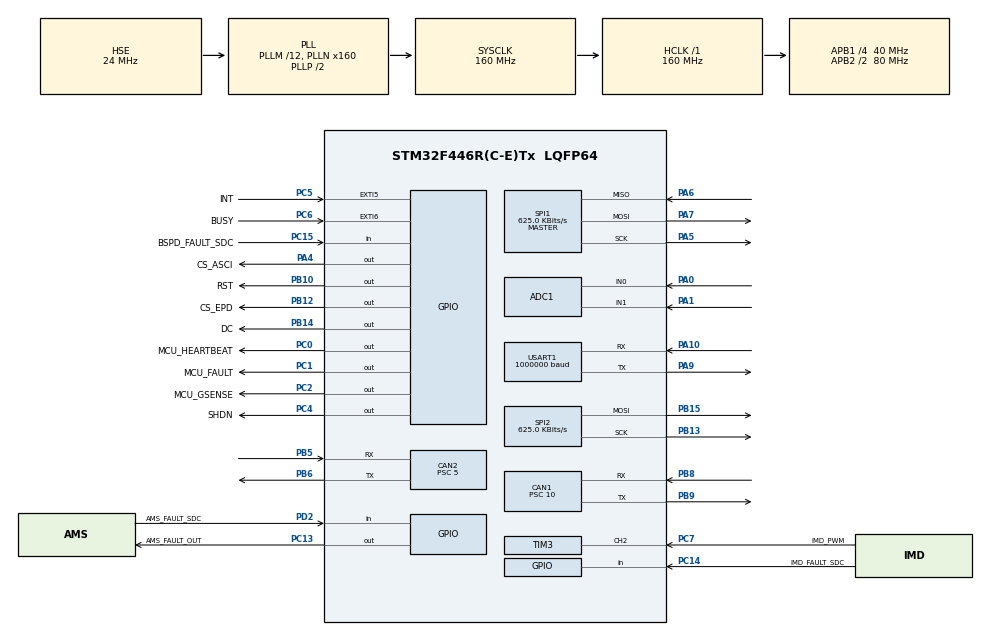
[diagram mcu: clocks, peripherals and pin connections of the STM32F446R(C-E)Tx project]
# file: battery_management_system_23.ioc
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ADC1.Channel-0\#ChannelRegularConversion=ADC_CHANNEL_0
ADC1.Channel-1\#ChannelRegularConversion=ADC_CHANNEL_1
ADC1.ContinuousConvMode=ENABLE
ADC1.DMAContinuousRequests=ENABLE
ADC1.NbrOfConversion=2
ADC1.NbrOfConversionFlag=1
ADC1.Rank-0\#ChannelRegularConversion=1
ADC1.Rank-1\#ChannelRegularConversion=2
ADC1.SamplingTime-0\#ChannelRegularConversion=ADC_SAMPLETIME_15CYCLES
ADC1.SamplingTime-1\#ChannelRegularConversion=ADC_SAMPLETIME_15CYCLES
ADC1.ScanConvMode=ENABLE
ADC1.master=1
CAN1.ABOM=ENABLE
CAN1.AWUM=ENABLE
CAN1.BS1=CAN_BS1_6TQ
CAN1.BS2=CAN_BS2_1TQ
CAN1.CalculateBaudRate=500000
CAN1.CalculateTimeBit=2000
CAN1.CalculateTimeQuantum=250.0
CAN1.Mode=CAN_MODE_NORMAL
CAN1.Prescaler=10
CAN2.ABOM=ENABLE
CAN2.AWUM=ENABLE
CAN2.BS1=CAN_BS1_6TQ
CAN2.CalculateBaudRate=1000000
CAN2.CalculateTimeBit=1000
CAN2.CalculateTimeQuantum=125.0
CAN2.Mode=CAN_MODE_NORMAL
CAN2.Prescaler=5
Dma.ADC1.0.Direction=DMA_PERIPH_TO_MEMORY
Dma.ADC1.0.FIFOMode=DMA_FIFOMODE_DISABLE
Dma.ADC1.0.Instance=DMA2_Stream0
Dma.ADC1.0.MemDataAlignment=DMA_MDATAALIGN_HALFWORD
Dma.ADC1.0.MemInc=DMA_MINC_ENABLE
Dma.ADC1.0.Mode=DMA_CIRCULAR
Dma.ADC1.0.PeriphDataAlignment=DMA_PDATAALIGN_HALFWORD
Dma.ADC1.0.PeriphInc=DMA_PINC_DISABLE
Dma.ADC1.0.Priority=DMA_PRIORITY_LOW
Dma.Request0=ADC1
FREERTOS.Queues01=epaperQueue,1,Epaper_Data_S,0,Dynamic,NULL,NULL
FREERTOS.Tasks01=defaultTask,0,512,StartDefaultTask,Default,NULL,Static,defaultTaskBuffer,defaultTaskControlBlock;mainTask,2,1024,StartMainTask,Default,NULL,Static,mainTaskBuffer,mainTaskControlBlock;ePaper,-2,1024,StartEPaper,Default,NULL,Static,ePaperBuffer,ePaperControlBlock;idle,-2,256,StartIdle,Default,NULL,Static,idleBuffer,idleControlBlock;serviceGopherCa,2,1024,runServiceGopherCan,Default,NULL,Dynamic,NULL,NULL
FREERTOS.configCHECK_FOR_STACK_OVERFLOW=1
FREERTOS.configENABLE_FPU=1
FREERTOS.configGENERATE_RUN_TIME_STATS=1
FREERTOS.configMINIMAL_STACK_SIZE=256
FREERTOS.configUSE_NEWLIB_REENTRANT=1
Mcu.Family=STM32F4
Mcu.Name=STM32F446R(C-E)Tx
Mcu.Package=LQFP64
NVIC.CAN1_RX0_IRQn=true\:5\:0\:false\:false\:true\:true\:true\:true\:true
NVIC.CAN2_RX0_IRQn=true\:5\:0\:false\:false\:true\:true\:true\:true\:true
NVIC.CAN2_RX1_IRQn=true\:5\:0\:false\:false\:true\:true\:true\:true\:true
NVIC.CAN2_TX_IRQn=true\:5\:0\:false\:false\:true\:true\:true\:true\:true
NVIC.DMA2_Stream0_IRQn=true\:5\:0\:false\:false\:true\:true\:false\:true\:true
NVIC.EXTI9_5_IRQn=true\:5\:0\:true\:false\:true\:true\:true\:true\:true
NVIC.PriorityGroup=NVIC_PRIORITYGROUP_4
NVIC.SPI1_IRQn=true\:5\:0\:true\:false\:true\:true\:true\:true\:true
NVIC.SPI2_IRQn=true\:6\:0\:true\:false\:true\:true\:true\:true\:true
NVIC.TIM1_UP_TIM10_IRQn=true\:5\:0\:true\:false\:true\:true\:true\:true\:true
NVIC.TIM3_IRQn=true\:5\:0\:true\:false\:true\:true\:true\:true\:true
NVIC.TIM6_DAC_IRQn=true\:15\:0\:false\:false\:true\:false\:false\:true\:true
NVIC.TimeBase=TIM6_DAC_IRQn
NVIC.TimeBaseIP=TIM6
PA0-WKUP.Signal=ADCx_IN0
PA1.Signal=ADCx_IN1
PA10.Mode=Asynchronous
PA10.Signal=USART1_RX
PA13.GPIO_Label=TMS
PA13.Mode=Serial_Wire
PA13.Signal=SYS_JTMS-SWDIO
PA14.GPIO_Label=TCK
PA14.Mode=Serial_Wire
PA14.Signal=SYS_JTCK-SWCLK
PA4.GPIO_Label=CS_ASCI
PA4.Signal=GPIO_Output
PA5.Mode=Full_Duplex_Master
PA5.Signal=SPI1_SCK
PA6.Mode=Full_Duplex_Master
PA6.Signal=SPI1_MISO
PA7.Mode=Full_Duplex_Master
PA7.Signal=SPI1_MOSI
PA9.Mode=Asynchronous
PA9.Signal=USART1_TX
PB10.GPIO_Label=RST
PB10.Signal=GPIO_Output
PB12.GPIO_Label=CS_EPD
PB12.Signal=GPIO_Output
PB13.Mode=TX_Only_Simplex_Unidirect_Master
PB13.Signal=SPI2_SCK
PB14.GPIO_Label=DC
PB14.Signal=GPIO_Output
PB15.Mode=TX_Only_Simplex_Unidirect_Master
PB15.Signal=SPI2_MOSI
PB3.Signal=SYS_JTDO-SWO
PB5.Mode=CAN_Activate
PB5.Signal=CAN2_RX
PB6.Mode=CAN_Activate
PB6.Signal=CAN2_TX
PB8.GPIO_PuPd=GPIO_NOPULL
PB8.Mode=CAN_Activate
PB8.Signal=CAN1_RX
PB9.Mode=CAN_Activate
PB9.Signal=CAN1_TX
PC0.GPIO_Label=MCU_HEARTBEAT
PC0.Signal=GPIO_Output
PC1.GPIO_Label=MCU_FAULT
PC1.Signal=GPIO_Output
PC13.GPIO_Label=AMS_FAULT_OUT
PC13.Signal=GPIO_Output
PC14-OSC32_IN.GPIO_Label=IMD_FAULT_SDC
PC14-OSC32_IN.Signal=GPIO_Input
PC15-OSC32_OUT.GPIO_Label=BSPD_FAULT_SDC
PC15-OSC32_OUT.Signal=GPIO_Input
PC2.GPIO_Label=MCU_GSENSE
PC2.Signal=GPIO_Output
PC4.GPIO_Label=SHDN
PC4.Signal=GPIO_Output
PC5.GPIO_Label=INT
PC5.GPIO_ModeDefaultEXTI=GPIO_MODE_IT_FALLING
PC5.Signal=GPXTI5
PC6.GPIO_Label=BUSY
PC6.GPIO_ModeDefaultEXTI=GPIO_MODE_IT_FALLING
PC6.Signal=GPXTI6
PC7.GPIO_Label=IMD_PWM
PC7.Signal=S_TIM3_CH2
PD2.GPIO_Label=AMS_FAULT_SDC
PD2.Signal=GPIO_Input
PH0-OSC_IN.Mode=HSE-External-Oscillator
PH0-OSC_IN.Signal=RCC_OSC_IN
PH1-OSC_OUT.Mode=HSE-External-Oscillator
PH1-OSC_OUT.Signal=RCC_OSC_OUT
ProjectManager.HeapSize=0x200
ProjectManager.StackSize=0x400
ProjectManager.TargetToolchain=STM32CubeIDE
RCC.48MHZClocksFreq_Value=84000000
RCC.AHBFreq_Value=160000000
RCC.APB1CLKDivider=RCC_HCLK_DIV4
RCC.APB1Freq_Value=40000000
RCC.APB1TimFreq_Value=80000000
RCC.APB2CLKDivider=RCC_HCLK_DIV2
RCC.APB2Freq_Value=80000000
RCC.APB2TimFreq_Value=160000000
RCC.CortexFreq_Value=160000000
RCC.FLatency-AdvancedSettings=FLASH_LATENCY_5
RCC.HCLKFreq_Value=160000000
RCC.HSE_VALUE=24000000
RCC.HSI_VALUE=16000000
RCC.PLLM=12
RCC.PLLN=160
RCC.PLLSourceVirtual=RCC_PLLSOURCE_HSE
RCC.SYSCLKFreq_VALUE=160000000
RCC.SYSCLKSource=RCC_SYSCLKSOURCE_PLLCLK
RCC.USBFreq_Value=160000000
RCC.VCOOutputFreq_Value=320000000
SH.ADCx_IN0.0=ADC1_IN0,IN0
SH.ADCx_IN1.0=ADC1_IN1,IN1
SH.S_TIM3_CH2.0=TIM3_CH2,PWM_Input_2
SPI1.BaudRatePrescaler=SPI_BAUDRATEPRESCALER_128
SPI1.CalculateBaudRate=625.0 KBits/s
SPI1.Direction=SPI_DIRECTION_2LINES
SPI1.Mode=SPI_MODE_MASTER
SPI1.VirtualType=VM_MASTER
SPI2.BaudRatePrescaler=SPI_BAUDRATEPRESCALER_64
SPI2.CalculateBaudRate=625.0 KBits/s
SPI2.Direction=SPI_DIRECTION_2LINES
SPI2.Mode=SPI_MODE_MASTER
SPI2.VirtualType=VM_MASTER
TIM3.ICPolarity_1=TIM_INPUTCHANNELPOLARITY_FALLING
TIM3.Period=65535
TIM3.Prescaler=214-1
USART1.BaudRate=1000000
USART1.VirtualMode=VM_ASYNC
VP_FREERTOS_VS_CMSIS_V1.Mode=CMSIS_V1
VP_SYS_VS_tim6.Mode=TIM6
VP_TIM10_VS_ClockSourceINT.Mode=Enable_Timer
VP_TIM3_VS_ClockSourceINT.Mode=Internal
board=NUCLEO-F446RE

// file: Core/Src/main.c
/* USER CODE BEGIN Header */
/**
  ******************************************************************************
  * @file           : main.c
  * @brief          : Main program body
  ******************************************************************************
  * @attention
  *
  * Copyright (c) 2022 STMicroelectronics.
  * All rights reserved.
  *
  * This software is licensed under terms that can be found in the LICENSE file
  * in the root directory of this software component.
  * If no LICENSE file comes with this software, it is provided AS-IS.
  *
  ******************************************************************************
  */
/* USER CODE END Header */
#include "main.h"
#include "cmsis_os.h"

/* USER CODE BEGIN Includes */
#include "stm32f4xx_it.h"
#include "mainTask.h"
#include "epaperTask.h"
#include "idleTask.h"
#include "bms.h"
#include "gopher_sense.h"
#include "utils.h"
#include "charger.h"

/* USER CODE END Includes */

ADC_HandleTypeDef hadc1;
DMA_HandleTypeDef hdma_adc1;

CAN_HandleTypeDef hcan1;
CAN_HandleTypeDef hcan2;

SPI_HandleTypeDef hspi1;
SPI_HandleTypeDef hspi2;

TIM_HandleTypeDef htim3;
TIM_HandleTypeDef htim10;

UART_HandleTypeDef huart1;

osThreadId defaultTaskHandle;
uint32_t defaultTaskBuffer[ 512 ];
osStaticThreadDef_t defaultTaskControlBlock;
osThreadId mainTaskHandle;
uint32_t mainTaskBuffer[ 1024 ];
osStaticThreadDef_t mainTaskControlBlock;
osThreadId ePaperHandle;
uint32_t ePaperBuffer[ 1024 ];
osStaticThreadDef_t ePaperControlBlock;
osThreadId idleHandle;
uint32_t idleBuffer[ 256 ];
osStaticThreadDef_t idleControlBlock;
osThreadId serviceGopherCaHandle;
osMessageQId epaperQueueHandle;
/* USER CODE BEGIN PV */
volatile uint32_t imdFrequency;
volatile uint32_t imdDutyCycle;
volatile uint32_t imdLastUpdate;

volatile bool newChargerMessage = false;
volatile uint8_t chargerMessage[5];

/* USER CODE END PV */

void SystemClock_Config(void);
static void MX_GPIO_Init(void);
static void MX_DMA_Init(void);
static void MX_SPI1_Init(void);
static void MX_SPI2_Init(void);
static void MX_USART1_UART_Init(void);
static void MX_TIM3_Init(void);
static void MX_CAN1_Init(void);
static void MX_CAN2_Init(void);
static void MX_ADC1_Init(void);
static void MX_TIM10_Init(void);
void StartDefaultTask(void const * argument);
void StartMainTask(void const * argument);
void StartEPaper(void const * argument);
void StartIdle(void const * argument);
void runServiceGopherCan(void const * argument);

/* USER CODE BEGIN PFP */
#ifdef __GNUC__
#define PUTCHAR_PROTOTYPE int __io_putchar(int ch)
#define GETCHAR_PROTOTYPE int __io_getchar(void)
#else
#define PUTCHAR_PROTOTYPE int fputc(int ch, FILE *f)
#define GETCHAR_PROTOTYPE int fgetc(FILE *f)
#endif

PUTCHAR_PROTOTYPE
{
  HAL_UART_Transmit(&huart1, (uint8_t *)&ch, 1, HAL_MAX_DELAY);
  return ch;
}

GETCHAR_PROTOTYPE
{
  uint8_t ch = 0;

  /* Clear the Overrun flag just before receiving the first character */
  __HAL_UART_CLEAR_OREFLAG(&huart1);

  /* Wait for reception of a character on the USART RX line and echo this
   * character on console */
  HAL_UART_Receive(&huart1, (uint8_t *)&ch, 1, HAL_MAX_DELAY);
  HAL_UART_Transmit(&huart1, (uint8_t *)&ch, 1, HAL_MAX_DELAY);
  return ch;
}
/* USER CODE END PFP */

/* USER CODE BEGIN 0 */

/*!
  @brief   This function is called by FreeRTOS when a stack overflow is detected.
           This function prints an error message indicating the task that caused the stack overflow
           and then calls the hardfault handler, which flashes an LED to indicate an error and resets the MCU.
  @param   xTask The handle of the task that caused the stack overflow.
  @param   pcTaskName A pointer to a string containing the name of the task that caused the stack overflow.
*/
void vApplicationStackOverflowHook( TaskHandle_t xTask, signed char *pcTaskName )
{
  // Print out error message indicating offending task
  Debug("Error: Stack overflow detected in task: %s\n", pcTaskName);
  // Call hardfault handler which indicates error by flashing led and then resets MCU
  HardFault_Handler();
}

/*!
  @brief   Interrupt when SPI TX finishes. Unblock task by releasing
  	  	   semaphore
  @param   SPI Handle
*/
void HAL_SPI_TxCpltCallback(SPI_HandleTypeDef *hspi)
{
	if (hspi == &hspi1)
	{
		static BaseType_t xHigherPriorityTaskWoken = pdFALSE;
    xTaskNotifyFromISR(mainTaskHandle, INTERRUPT_SUCCESS, eSetBits, &xHigherPriorityTaskWoken);
		portYIELD_FROM_ISR(xHigherPriorityTaskWoken);
	}
	if (hspi == &hspi2)
	{
		static BaseType_t xHigherPriorityTaskWoken = pdFALSE;
		xTaskNotifyFromISR(ePaperHandle, INTERRUPT_SUCCESS, eSetBits, &xHigherPriorityTaskWoken);
		portYIELD_FROM_ISR(xHigherPriorityTaskWoken);
	}
}

/*!
  @brief   Interrupt when SPI TX/RX finishes. Unblock task by releasing
  	  	   semaphore
  @param   SPI Handle
*/
void HAL_SPI_TxRxCpltCallback(SPI_HandleTypeDef *hspi)
{
	if (hspi == &hspi1)
	{
		static BaseType_t xHigherPriorityTaskWoken = pdFALSE;
		xTaskNotifyFromISR(mainTaskHandle, INTERRUPT_SUCCESS, eSetBits, &xHigherPriorityTaskWoken);
		portYIELD_FROM_ISR(xHigherPriorityTaskWoken);
	}
}

void HAL_SPI_ErrorCallback(SPI_HandleTypeDef *hspi)
{
  if (hspi == &hspi1)
	{
		static BaseType_t xHigherPriorityTaskWoken = pdFALSE;
    xTaskNotifyFromISR(mainTaskHandle, INTERRUPT_ERROR, eSetBits, &xHigherPriorityTaskWoken);
		portYIELD_FROM_ISR(xHigherPriorityTaskWoken);
	}
	if (hspi == &hspi2)
	{
		static BaseType_t xHigherPriorityTaskWoken = pdFALSE;
		xTaskNotifyFromISR(ePaperHandle, INTERRUPT_ERROR, eSetBits, &xHigherPriorityTaskWoken);
		portYIELD_FROM_ISR(xHigherPriorityTaskWoken);
	}
}

void HAL_GPIO_EXTI_Callback(uint16_t GPIO_Pin)
{
	if (GPIO_Pin == INT_Pin)
	{
		static BaseType_t xHigherPriorityTaskWoken = pdFALSE;
    xTaskNotifyFromISR(mainTaskHandle, INTERRUPT_SUCCESS, eSetBits, &xHigherPriorityTaskWoken);
		portYIELD_FROM_ISR(xHigherPriorityTaskWoken);
	}
	if (GPIO_Pin == BUSY_Pin)
	{
		static BaseType_t xHigherPriorityTaskWoken = pdFALSE;
    xTaskNotifyFromISR(ePaperHandle, INTERRUPT_SUCCESS, eSetBits, &xHigherPriorityTaskWoken);
		portYIELD_FROM_ISR(xHigherPriorityTaskWoken);
	}
}

/*!
  @brief   Interrupt when Timer input capture triggered
  @param   TIM Handle
*/
void HAL_TIM_IC_CaptureCallback(TIM_HandleTypeDef *htim)
{
	if ((htim == &htim3) && (htim->Channel == HAL_TIM_ACTIVE_CHANNEL_2))  // If the interrupt is triggered by channel 2 (Rising edge detection)
	{
    // Record imd update time
    imdLastUpdate = HAL_GetTick();

		// Read the raw IC value of the timer with rising edge detection
		uint32_t inputCaptureRaw = HAL_TIM_ReadCapturedValue(htim, TIM_CHANNEL_2);
    // Prevent divide by 0
		if (inputCaptureRaw != 0)
		{
			// Calculate the Duty Cycle
      // The captured value in channel one contains the timestamp of the falling edge. Since the timer is reset
      // on a rising edge this contains the pulse width of the high time. This value is then divided by
      // inputCaptureRaw - which is the period of the PWM cycle in timer ticks to get duty cycle
			imdDutyCycle = (HAL_TIM_ReadCapturedValue(htim, TIM_CHANNEL_1) * 100) / inputCaptureRaw;

      // Calculate the Frequency
      // The timer CLK runs at 2x frequency of PCLK1. This is then divided by the prescalar.
      uint32_t timerFrequency = (HAL_RCC_GetPCLK1Freq() * 2) / htim3.Init.Prescaler;
      // Frequency scaling
			imdFrequency =  timerFrequency / inputCaptureRaw;
		}
	}
}

void GCAN_RxMsgPendingCallback(CAN_HandleTypeDef *hcan, U32 fifo_num)
{
  // Charger CAN
  if(hcan == &hcan1)
  {
    CAN_RxHeaderTypeDef rxHeader;
    uint8_t rxData[8];

    HAL_CAN_GetRxMessage(hcan, fifo_num, &rxHeader, rxData);
    if ((rxHeader.ExtId == CHARGER_CAN_ID_RX) && (rxHeader.DLC == 8))
    {
      for (int32_t i = 0; i < 5; i++)
      {
        chargerMessage[i] = rxData[i];
      }
      newChargerMessage = true;
    }
  }

  // Gopher CAN
  if(hcan == &hcan2)
  {
    service_can_rx_hardware(hcan, fifo_num);
  }
}

/* USER CODE END 0 */

int main(void)
{

  /* MCU Configuration--------------------------------------------------------*/

  /* Reset of all peripherals, Initializes the Flash interface and the Systick. */
  HAL_Init();

  /* Configure the system clock */
  SystemClock_Config();

  /* Initialize all configured peripherals */
  MX_GPIO_Init();
  MX_DMA_Init();
  MX_SPI1_Init();
  MX_SPI2_Init();
  MX_USART1_UART_Init();
  MX_TIM3_Init();
  MX_CAN1_Init();
  MX_CAN2_Init();
  MX_ADC1_Init();
  MX_TIM10_Init();
  /* USER CODE BEGIN 2 */
  initBmsGopherCan(&hcan2);
  gsense_init(&hcan2, &hadc1, 0, 0, MCU_GSENSE_GPIO_Port, MCU_GSENSE_Pin);

  // Start IMD timer capture
  HAL_TIM_IC_Start_IT(&htim3, TIM_CHANNEL_2);   // Main channel
  HAL_TIM_IC_Start(&htim3, TIM_CHANNEL_1);      // Indirect channel

  // Activate Charger CAN RX MSG PENDING notification
  HAL_CAN_Start(&hcan1);
  HAL_CAN_ActivateNotification(&hcan1, CAN_IT_RX_FIFO0_MSG_PENDING);

  /* USER CODE END 2 */

  /* Create the queue(s) */
  /* definition and creation of epaperQueue */
  osMessageQDef(epaperQueue, 1, Epaper_Data_S);
  epaperQueueHandle = osMessageCreate(osMessageQ(epaperQueue), NULL);

  /* Create the thread(s) */
  /* definition and creation of defaultTask */
  osThreadStaticDef(defaultTask, StartDefaultTask, osPriorityNormal, 0, 512, defaultTaskBuffer, &defaultTaskControlBlock);
  defaultTaskHandle = osThreadCreate(osThread(defaultTask), NULL);

  /* definition and creation of mainTask */
  osThreadStaticDef(mainTask, StartMainTask, osPriorityHigh, 0, 1024, mainTaskBuffer, &mainTaskControlBlock);
  mainTaskHandle = osThreadCreate(osThread(mainTask), NULL);

  /* definition and creation of ePaper */
  osThreadStaticDef(ePaper, StartEPaper, osPriorityLow, 0, 1024, ePaperBuffer, &ePaperControlBlock);
  ePaperHandle = osThreadCreate(osThread(ePaper), NULL);

  /* definition and creation of idle */
  osThreadStaticDef(idle, StartIdle, osPriorityLow, 0, 256, idleBuffer, &idleControlBlock);
  idleHandle = osThreadCreate(osThread(idle), NULL);

  /* definition and creation of serviceGopherCa */
  osThreadDef(serviceGopherCa, runServiceGopherCan, osPriorityHigh, 0, 1024);
  serviceGopherCaHandle = osThreadCreate(osThread(serviceGopherCa), NULL);

  /* Start scheduler */
  osKernelStart();

  /* We should never get here as control is now taken by the scheduler */
  /* Infinite loop */
  while (1)
  {

  }
}

void SystemClock_Config(void)
{
  RCC_OscInitTypeDef RCC_OscInitStruct = {0};
  RCC_ClkInitTypeDef RCC_ClkInitStruct = {0};

  /** Configure the main internal regulator output voltage
  */
  __HAL_RCC_PWR_CLK_ENABLE();
  __HAL_PWR_VOLTAGESCALING_CONFIG(PWR_REGULATOR_VOLTAGE_SCALE1);

  /** Initializes the RCC Oscillators according to the specified parameters
  * in the RCC_OscInitTypeDef structure.
  */
  RCC_OscInitStruct.OscillatorType = RCC_OSCILLATORTYPE_HSE;
  RCC_OscInitStruct.HSEState = RCC_HSE_ON;
  RCC_OscInitStruct.PLL.PLLState = RCC_PLL_ON;
  RCC_OscInitStruct.PLL.PLLSource = RCC_PLLSOURCE_HSE;
  RCC_OscInitStruct.PLL.PLLM = 12;
  RCC_OscInitStruct.PLL.PLLN = 160;
  RCC_OscInitStruct.PLL.PLLP = RCC_PLLP_DIV2;
  RCC_OscInitStruct.PLL.PLLQ = 2;
  RCC_OscInitStruct.PLL.PLLR = 2;
  if (HAL_RCC_OscConfig(&RCC_OscInitStruct) != HAL_OK)
  {
    Error_Handler();
  }

  /** Initializes the CPU, AHB and APB buses clocks
  */
  RCC_ClkInitStruct.ClockType = RCC_CLOCKTYPE_HCLK|RCC_CLOCKTYPE_SYSCLK
                              |RCC_CLOCKTYPE_PCLK1|RCC_CLOCKTYPE_PCLK2;
  RCC_ClkInitStruct.SYSCLKSource = RCC_SYSCLKSOURCE_PLLCLK;
  RCC_ClkInitStruct.AHBCLKDivider = RCC_SYSCLK_DIV1;
  RCC_ClkInitStruct.APB1CLKDivider = RCC_HCLK_DIV4;
  RCC_ClkInitStruct.APB2CLKDivider = RCC_HCLK_DIV2;

  if (HAL_RCC_ClockConfig(&RCC_ClkInitStruct, FLASH_LATENCY_5) != HAL_OK)
  {
    Error_Handler();
  }
}

static void MX_ADC1_Init(void)
{

  ADC_ChannelConfTypeDef sConfig = {0};

  /** Configure the global features of the ADC (Clock, Resolution, Data Alignment and number of conversion)
  */
  hadc1.Instance = ADC1;
  hadc1.Init.ClockPrescaler = ADC_CLOCK_SYNC_PCLK_DIV4;
  hadc1.Init.Resolution = ADC_RESOLUTION_12B;
  hadc1.Init.ScanConvMode = ENABLE;
  hadc1.Init.ContinuousConvMode = ENABLE;
  hadc1.Init.DiscontinuousConvMode = DISABLE;
  hadc1.Init.ExternalTrigConvEdge = ADC_EXTERNALTRIGCONVEDGE_NONE;
  hadc1.Init.ExternalTrigConv = ADC_SOFTWARE_START;
  hadc1.Init.DataAlign = ADC_DATAALIGN_RIGHT;
  hadc1.Init.NbrOfConversion = 2;
  hadc1.Init.DMAContinuousRequests = ENABLE;
  hadc1.Init.EOCSelection = ADC_EOC_SINGLE_CONV;
  if (HAL_ADC_Init(&hadc1) != HAL_OK)
  {
    Error_Handler();
  }

  /** Configure for the selected ADC regular channel its corresponding rank in the sequencer and its sample time.
  */
  sConfig.Channel = ADC_CHANNEL_0;
  sConfig.Rank = 1;
  sConfig.SamplingTime = ADC_SAMPLETIME_15CYCLES;
  if (HAL_ADC_ConfigChannel(&hadc1, &sConfig) != HAL_OK)
  {
    Error_Handler();
  }

  /** Configure for the selected ADC regular channel its corresponding rank in the sequencer and its sample time.
  */
  sConfig.Channel = ADC_CHANNEL_1;
  sConfig.Rank = 2;
  if (HAL_ADC_ConfigChannel(&hadc1, &sConfig) != HAL_OK)
  {
    Error_Handler();
  }

}

static void MX_CAN1_Init(void)
{

  hcan1.Instance = CAN1;
  hcan1.Init.Prescaler = 10;
  hcan1.Init.Mode = CAN_MODE_NORMAL;
  hcan1.Init.SyncJumpWidth = CAN_SJW_1TQ;
  hcan1.Init.TimeSeg1 = CAN_BS1_6TQ;
  hcan1.Init.TimeSeg2 = CAN_BS2_1TQ;
  hcan1.Init.TimeTriggeredMode = DISABLE;
  hcan1.Init.AutoBusOff = ENABLE;
  hcan1.Init.AutoWakeUp = ENABLE;
  hcan1.Init.AutoRetransmission = DISABLE;
  hcan1.Init.ReceiveFifoLocked = DISABLE;
  hcan1.Init.TransmitFifoPriority = DISABLE;
  if (HAL_CAN_Init(&hcan1) != HAL_OK)
  {
    Error_Handler();
  }

}

static void MX_CAN2_Init(void)
{

  hcan2.Instance = CAN2;
  hcan2.Init.Prescaler = 5;
  hcan2.Init.Mode = CAN_MODE_NORMAL;
  hcan2.Init.SyncJumpWidth = CAN_SJW_1TQ;
  hcan2.Init.TimeSeg1 = CAN_BS1_6TQ;
  hcan2.Init.TimeSeg2 = CAN_BS2_1TQ;
  hcan2.Init.TimeTriggeredMode = DISABLE;
  hcan2.Init.AutoBusOff = ENABLE;
  hcan2.Init.AutoWakeUp = ENABLE;
  hcan2.Init.AutoRetransmission = DISABLE;
  hcan2.Init.ReceiveFifoLocked = DISABLE;
  hcan2.Init.TransmitFifoPriority = DISABLE;
  if (HAL_CAN_Init(&hcan2) != HAL_OK)
  {
    Error_Handler();
  }

}

static void MX_SPI1_Init(void)
{

  /* SPI1 parameter configuration*/
  hspi1.Instance = SPI1;
  hspi1.Init.Mode = SPI_MODE_MASTER;
  hspi1.Init.Direction = SPI_DIRECTION_2LINES;
  hspi1.Init.DataSize = SPI_DATASIZE_8BIT;
  hspi1.Init.CLKPolarity = SPI_POLARITY_LOW;
  hspi1.Init.CLKPhase = SPI_PHASE_1EDGE;
  hspi1.Init.NSS = SPI_NSS_SOFT;
  hspi1.Init.BaudRatePrescaler = SPI_BAUDRATEPRESCALER_128;
  hspi1.Init.FirstBit = SPI_FIRSTBIT_MSB;
  hspi1.Init.TIMode = SPI_TIMODE_DISABLE;
  hspi1.Init.CRCCalculation = SPI_CRCCALCULATION_DISABLE;
  hspi1.Init.CRCPolynomial = 10;
  if (HAL_SPI_Init(&hspi1) != HAL_OK)
  {
    Error_Handler();
  }

}

static void MX_SPI2_Init(void)
{

  /* SPI2 parameter configuration*/
  hspi2.Instance = SPI2;
  hspi2.Init.Mode = SPI_MODE_MASTER;
  hspi2.Init.Direction = SPI_DIRECTION_2LINES;
  hspi2.Init.DataSize = SPI_DATASIZE_8BIT;
  hspi2.Init.CLKPolarity = SPI_POLARITY_LOW;
  hspi2.Init.CLKPhase = SPI_PHASE_1EDGE;
  hspi2.Init.NSS = SPI_NSS_SOFT;
  hspi2.Init.BaudRatePrescaler = SPI_BAUDRATEPRESCALER_64;
  hspi2.Init.FirstBit = SPI_FIRSTBIT_MSB;
  hspi2.Init.TIMode = SPI_TIMODE_DISABLE;
  hspi2.Init.CRCCalculation = SPI_CRCCALCULATION_DISABLE;
  hspi2.Init.CRCPolynomial = 10;
  if (HAL_SPI_Init(&hspi2) != HAL_OK)
  {
    Error_Handler();
  }

}

static void MX_TIM3_Init(void)
{

  TIM_ClockConfigTypeDef sClockSourceConfig = {0};
  TIM_SlaveConfigTypeDef sSlaveConfig = {0};
  TIM_IC_InitTypeDef sConfigIC = {0};
  TIM_MasterConfigTypeDef sMasterConfig = {0};

  htim3.Instance = TIM3;
  htim3.Init.Prescaler = 214-1;
  htim3.Init.CounterMode = TIM_COUNTERMODE_UP;
  htim3.Init.Period = 65535;
  htim3.Init.ClockDivision = TIM_CLOCKDIVISION_DIV1;
  htim3.Init.AutoReloadPreload = TIM_AUTORELOAD_PRELOAD_DISABLE;
  if (HAL_TIM_Base_Init(&htim3) != HAL_OK)
  {
    Error_Handler();
  }
  sClockSourceConfig.ClockSource = TIM_CLOCKSOURCE_INTERNAL;
  if (HAL_TIM_ConfigClockSource(&htim3, &sClockSourceConfig) != HAL_OK)
  {
    Error_Handler();
  }
  if (HAL_TIM_IC_Init(&htim3) != HAL_OK)
  {
    Error_Handler();
  }
  sSlaveConfig.SlaveMode = TIM_SLAVEMODE_RESET;
  sSlaveConfig.InputTrigger = TIM_TS_TI2FP2;
  sSlaveConfig.TriggerPolarity = TIM_INPUTCHANNELPOLARITY_RISING;
  sSlaveConfig.TriggerPrescaler = TIM_ICPSC_DIV1;
  sSlaveConfig.TriggerFilter = 0;
  if (HAL_TIM_SlaveConfigSynchro(&htim3, &sSlaveConfig) != HAL_OK)
  {
    Error_Handler();
  }
  sConfigIC.ICPolarity = TIM_INPUTCHANNELPOLARITY_FALLING;
  sConfigIC.ICSelection = TIM_ICSELECTION_INDIRECTTI;
  sConfigIC.ICPrescaler = TIM_ICPSC_DIV1;
  sConfigIC.ICFilter = 0;
  if (HAL_TIM_IC_ConfigChannel(&htim3, &sConfigIC, TIM_CHANNEL_1) != HAL_OK)
  {
    Error_Handler();
  }
  sConfigIC.ICPolarity = TIM_INPUTCHANNELPOLARITY_RISING;
  sConfigIC.ICSelection = TIM_ICSELECTION_DIRECTTI;
  if (HAL_TIM_IC_ConfigChannel(&htim3, &sConfigIC, TIM_CHANNEL_2) != HAL_OK)
  {
    Error_Handler();
  }
  sMasterConfig.MasterOutputTrigger = TIM_TRGO_RESET;
  sMasterConfig.MasterSlaveMode = TIM_MASTERSLAVEMODE_DISABLE;
  if (HAL_TIMEx_MasterConfigSynchronization(&htim3, &sMasterConfig) != HAL_OK)
  {
    Error_Handler();
  }

}

static void MX_TIM10_Init(void)
{

  htim10.Instance = TIM10;
  htim10.Init.Prescaler = 0;
  htim10.Init.CounterMode = TIM_COUNTERMODE_UP;
  htim10.Init.Period = 65535;
  htim10.Init.ClockDivision = TIM_CLOCKDIVISION_DIV1;
  htim10.Init.AutoReloadPreload = TIM_AUTORELOAD_PRELOAD_DISABLE;
  if (HAL_TIM_Base_Init(&htim10) != HAL_OK)
  {
    Error_Handler();
  }

}

static void MX_USART1_UART_Init(void)
{

  huart1.Instance = USART1;
  huart1.Init.BaudRate = 1000000;
  huart1.Init.WordLength = UART_WORDLENGTH_8B;
  huart1.Init.StopBits = UART_STOPBITS_1;
  huart1.Init.Parity = UART_PARITY_NONE;
  huart1.Init.Mode = UART_MODE_TX_RX;
  huart1.Init.HwFlowCtl = UART_HWCONTROL_NONE;
  huart1.Init.OverSampling = UART_OVERSAMPLING_16;
  if (HAL_UART_Init(&huart1) != HAL_OK)
  {
    Error_Handler();
  }

}

static void MX_DMA_Init(void)
{

  /* DMA controller clock enable */
  __HAL_RCC_DMA2_CLK_ENABLE();

  /* DMA interrupt init */
  /* DMA2_Stream0_IRQn interrupt configuration */
  HAL_NVIC_SetPriority(DMA2_Stream0_IRQn, 5, 0);
  HAL_NVIC_EnableIRQ(DMA2_Stream0_IRQn);

}

static void MX_GPIO_Init(void)
{
  GPIO_InitTypeDef GPIO_InitStruct = {0};

  /* GPIO Ports Clock Enable */
  __HAL_RCC_GPIOC_CLK_ENABLE();
  __HAL_RCC_GPIOH_CLK_ENABLE();
  __HAL_RCC_GPIOA_CLK_ENABLE();
  __HAL_RCC_GPIOB_CLK_ENABLE();
  __HAL_RCC_GPIOD_CLK_ENABLE();

  /*Configure GPIO pin Output Level */
  HAL_GPIO_WritePin(GPIOC, AMS_FAULT_OUT_Pin|MCU_HEARTBEAT_Pin|MCU_FAULT_Pin|MCU_GSENSE_Pin
                          |SHDN_Pin, GPIO_PIN_RESET);

  /*Configure GPIO pin Output Level */
  HAL_GPIO_WritePin(CS_ASCI_GPIO_Port, CS_ASCI_Pin, GPIO_PIN_RESET);

  /*Configure GPIO pin Output Level */
  HAL_GPIO_WritePin(GPIOB, RST_Pin|CS_EPD_Pin|DC_Pin, GPIO_PIN_RESET);

  /*Configure GPIO pins : AMS_FAULT_OUT_Pin MCU_HEARTBEAT_Pin MCU_FAULT_Pin MCU_GSENSE_Pin
                           SHDN_Pin */
  GPIO_InitStruct.Pin = AMS_FAULT_OUT_Pin|MCU_HEARTBEAT_Pin|MCU_FAULT_Pin|MCU_GSENSE_Pin
                          |SHDN_Pin;
  GPIO_InitStruct.Mode = GPIO_MODE_OUTPUT_PP;
  GPIO_InitStruct.Pull = GPIO_NOPULL;
  GPIO_InitStruct.Speed = GPIO_SPEED_FREQ_LOW;
  HAL_GPIO_Init(GPIOC, &GPIO_InitStruct);

  /*Configure GPIO pins : IMD_FAULT_SDC_Pin BSPD_FAULT_SDC_Pin */
  GPIO_InitStruct.Pin = IMD_FAULT_SDC_Pin|BSPD_FAULT_SDC_Pin;
  GPIO_InitStruct.Mode = GPIO_MODE_INPUT;
  GPIO_InitStruct.Pull = GPIO_NOPULL;
  HAL_GPIO_Init(GPIOC, &GPIO_InitStruct);

  /*Configure GPIO pin : CS_ASCI_Pin */
  GPIO_InitStruct.Pin = CS_ASCI_Pin;
  GPIO_InitStruct.Mode = GPIO_MODE_OUTPUT_PP;
  GPIO_InitStruct.Pull = GPIO_NOPULL;
  GPIO_InitStruct.Speed = GPIO_SPEED_FREQ_LOW;
  HAL_GPIO_Init(CS_ASCI_GPIO_Port, &GPIO_InitStruct);

  /*Configure GPIO pins : INT_Pin BUSY_Pin */
  GPIO_InitStruct.Pin = INT_Pin|BUSY_Pin;
  GPIO_InitStruct.Mode = GPIO_MODE_IT_FALLING;
  GPIO_InitStruct.Pull = GPIO_NOPULL;
  HAL_GPIO_Init(GPIOC, &GPIO_InitStruct);

  /*Configure GPIO pins : RST_Pin CS_EPD_Pin DC_Pin */
  GPIO_InitStruct.Pin = RST_Pin|CS_EPD_Pin|DC_Pin;
  GPIO_InitStruct.Mode = GPIO_MODE_OUTPUT_PP;
  GPIO_InitStruct.Pull = GPIO_NOPULL;
  GPIO_InitStruct.Speed = GPIO_SPEED_FREQ_LOW;
  HAL_GPIO_Init(GPIOB, &GPIO_InitStruct);

  /*Configure GPIO pin : AMS_FAULT_SDC_Pin */
  GPIO_InitStruct.Pin = AMS_FAULT_SDC_Pin;
  GPIO_InitStruct.Mode = GPIO_MODE_INPUT;
  GPIO_InitStruct.Pull = GPIO_NOPULL;
  HAL_GPIO_Init(AMS_FAULT_SDC_GPIO_Port, &GPIO_InitStruct);

  /* EXTI interrupt init*/
  HAL_NVIC_SetPriority(EXTI9_5_IRQn, 5, 0);
  HAL_NVIC_EnableIRQ(EXTI9_5_IRQn);

}

void StartDefaultTask(void const * argument)
{
  for(;;)
  {
    osDelay(1);
  }
}

void StartMainTask(void const * argument)
{
  /* USER CODE BEGIN StartMainTask */
  initMain();
  /* Infinite loop */
  for(;;)
  {
    runMain();
    osDelay(1);
  }
  /* USER CODE END StartMainTask */
}

void StartEPaper(void const * argument)
{
  /* USER CODE BEGIN StartEPaper */
  initEpaperTask();
  /* Infinite loop */
  for(;;)
  {
    runEpaperTask();
    osDelay(100);
  }
  /* USER CODE END StartEPaper */
}

void StartIdle(void const * argument)
{
  /* USER CODE BEGIN StartIdle */
  /* Infinite loop */
  for(;;)
  {
    // Update heartbeat and fault leds
    runIdle();
    osDelay(10);
  }
  /* USER CODE END StartIdle */
}

void runServiceGopherCan(void const * argument)
{
  /* USER CODE BEGIN runServiceGopherCan */
  /* Infinite loop */
  for(;;)
  {
    service_can_rx_buffer();
    osDelay(1);
  }
  /* USER CODE END runServiceGopherCan */
}

void HAL_TIM_PeriodElapsedCallback(TIM_HandleTypeDef *htim)
{
  if (htim->Instance == TIM6) {
    HAL_IncTick();
  }
  /* USER CODE BEGIN Callback 1 */
  if (htim->Instance == TIM10)
  {
    // DAQ_TimerCallback(htim);
  }
  /* USER CODE END Callback 1 */
}

void Error_Handler(void)
{
  __disable_irq();
  while (1)
  {
  }
}

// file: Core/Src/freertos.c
/* USER CODE BEGIN Header */
/**
  ******************************************************************************
  * File Name          : freertos.c
  * Description        : Code for freertos applications
  ******************************************************************************
  * @attention
  *
  * Copyright (c) 2022 STMicroelectronics.
  * All rights reserved.
  *
  * This software is licensed under terms that can be found in the LICENSE file
  * in the root directory of this software component.
  * If no LICENSE file comes with this software, it is provided AS-IS.
  *
  ******************************************************************************
  */
/* USER CODE END Header */

#include "FreeRTOS.h"
#include "task.h"
#include "main.h"

/* GetIdleTaskMemory prototype (linked to static allocation support) */
void vApplicationGetIdleTaskMemory( StaticTask_t **ppxIdleTaskTCBBuffer, StackType_t **ppxIdleTaskStackBuffer, uint32_t *pulIdleTaskStackSize );

/* Hook prototypes */
void configureTimerForRunTimeStats(void);
unsigned long getRunTimeCounterValue(void);
void vApplicationStackOverflowHook(xTaskHandle xTask, signed char *pcTaskName);

/* USER CODE BEGIN 1 */
/* Functions needed when configGENERATE_RUN_TIME_STATS is on */
__weak void configureTimerForRunTimeStats(void)
{

}

__weak unsigned long getRunTimeCounterValue(void)
{
return 0;
}
/* USER CODE END 1 */

/* USER CODE BEGIN 4 */
__weak void vApplicationStackOverflowHook(xTaskHandle xTask, signed char *pcTaskName)
{
   /* Run time stack overflow checking is performed if
   configCHECK_FOR_STACK_OVERFLOW is defined to 1 or 2. This hook function is
   called if a stack overflow is detected. */
}
/* USER CODE END 4 */

/* USER CODE BEGIN GET_IDLE_TASK_MEMORY */
static StaticTask_t xIdleTaskTCBBuffer;
static StackType_t xIdleStack[configMINIMAL_STACK_SIZE];

void vApplicationGetIdleTaskMemory( StaticTask_t **ppxIdleTaskTCBBuffer, StackType_t **ppxIdleTaskStackBuffer, uint32_t *pulIdleTaskStackSize )
{
  *ppxIdleTaskTCBBuffer = &xIdleTaskTCBBuffer;
  *ppxIdleTaskStackBuffer = &xIdleStack[0];
  *pulIdleTaskStackSize = configMINIMAL_STACK_SIZE;
  /* place for user code */
}
/* USER CODE END GET_IDLE_TASK_MEMORY */
